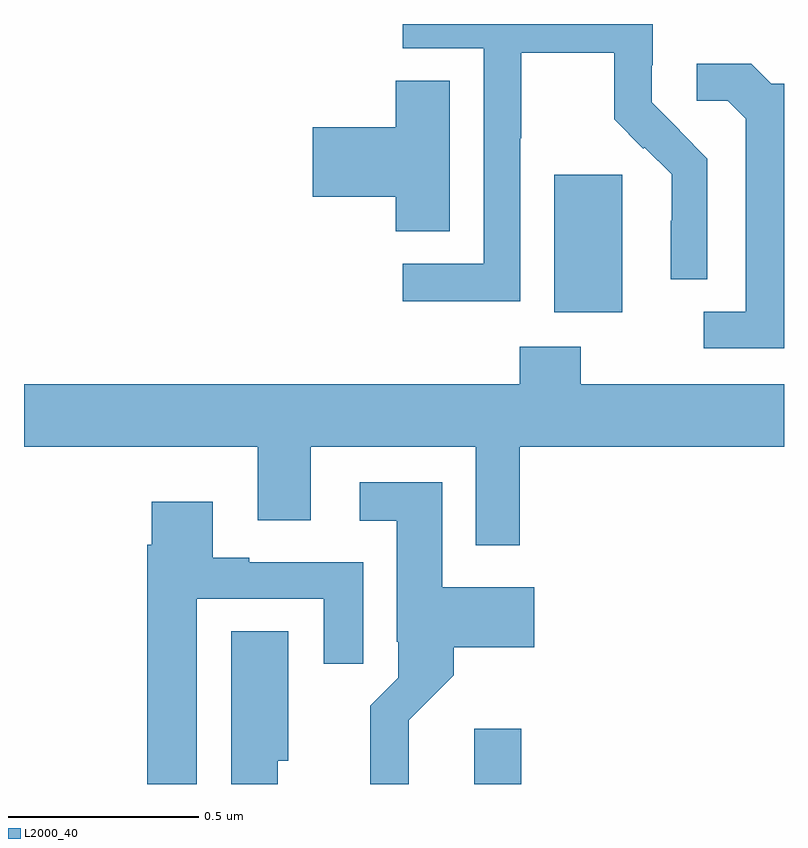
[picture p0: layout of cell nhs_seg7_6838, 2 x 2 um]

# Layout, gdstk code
import gdstk
lib = gdstk.Library(unit=1e-6, precision=1e-09)
def R(c, l, rs):  # rectangles x0, y0, x1, y1
    for r in rs: c.add(gdstk.rectangle(r[:2], r[2:], *l))
def P(c, l, *ps):  # polygons
    for p in ps: c.add(gdstk.Polygon(p, *l))
L2000_40 = (2000, 40)

nhs_seg7_6838 = lib.new_cell('nhs_seg7_6838')
R(nhs_seg7_6838, L2000_40, [(204.185,1061,204.308,1061.146), (204.395,1062.242,204.574,1062.603)])
P(nhs_seg7_6838, L2000_40, [(204.306,1062.7),(204.309,1062.7),(204.309,1062.924),(204.553,1062.924),(204.553,1062.749),(204.63,1062.672),(204.633,1062.675),(204.704,1062.605),(204.704,1062.482),(204.702,1062.482),(204.702,1062.328),(204.798,1062.328),(204.798,1062.646),(204.725,1062.719),(204.726,1062.72),(204.652,1062.794),(204.652,1062.891),(204.654,1062.891),(204.654,1063),(203.997,1063),(203.997,1062.936),(204.21,1062.936),(204.21,1062.369),(203.997,1062.369),(203.997,1062.271),(204.306,1062.271)],
  [(205,1062.843),(204.966,1062.843),(204.914,1062.895),(204.771,1062.895),(204.771,1062.798),(204.852,1062.798),(204.899,1062.751),(204.899,1062.243),(204.789,1062.243),(204.789,1062.147),(205,1062.147)],
  [(204.121,1062.851),(203.978,1062.851),(203.978,1062.728),(203.76,1062.728),(203.76,1062.545),(203.978,1062.545),(203.978,1062.454),(204.121,1062.454)],
  [(204.305,1061.888),(205,1061.888),(205,1062.052),(204.465,1062.052),(204.465,1062.151),(204.305,1062.151),(204.305,1062.052),(203,1062.052),(203,1061.888),(203.615,1061.888),(203.615,1061.694),(203.755,1061.694),(203.755,1061.888),(204.189,1061.888),(204.189,1061.628),(204.305,1061.628)],
  [(204.013,1061.168),(204.131,1061.286),(204.131,1061.36),(204.343,1061.36),(204.343,1061.518),(204.1,1061.518),(204.1,1061.794),(203.883,1061.794),(203.883,1061.693),(203.981,1061.693),(203.981,1061.374),(203.985,1061.374),(203.985,1061.28),(203.911,1061.206),(203.911,1061),(204.013,1061)],
  [(203.455,1061.487),(203.789,1061.487),(203.789,1061.316),(203.893,1061.316),(203.893,1061.583),(203.593,1061.583),(203.593,1061.596),(203.497,1061.596),(203.497,1061.743),(203.336,1061.743),(203.336,1061.63),(203.324,1061.63),(203.324,1061),(203.455,1061)],
  [(203.668,1061.061),(203.695,1061.061),(203.695,1061.402),(203.546,1061.402),(203.546,1061),(203.668,1061)])

lib.write_gds('nhs_seg7_6838.gds')
